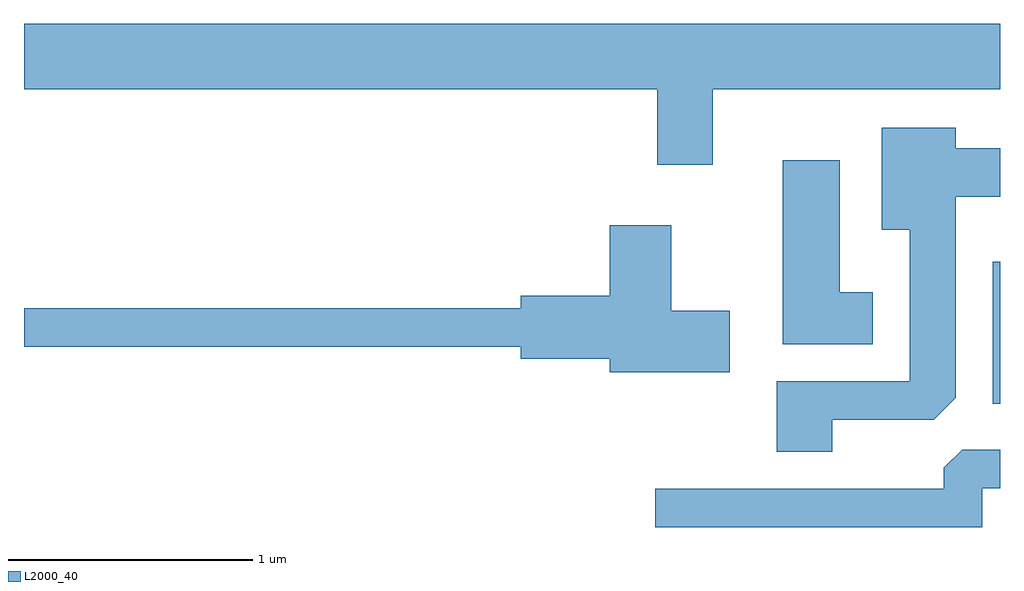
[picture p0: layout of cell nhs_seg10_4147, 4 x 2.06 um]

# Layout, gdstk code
import gdstk
lib = gdstk.Library(unit=1e-6, precision=1e-09)
def R(c, l, rs):  # rectangles x0, y0, x1, y1
    for r in rs: c.add(gdstk.rectangle(r[:2], r[2:], *l))
def P(c, l, *ps):  # polygons
    for p in ps: c.add(gdstk.Polygon(p, *l))
L2000_40 = (2000, 40)

nhs_seg10_4147 = lib.new_cell('nhs_seg10_4147')
R(nhs_seg10_4147, L2000_40, [(311.581,2117.066,311.611,2117.649)])
P(nhs_seg10_4147, L2000_40, [(310.434,2118.356),(311.611,2118.356),(311.611,2118.624),(307.611,2118.624),(307.611,2118.356),(310.206,2118.356),(310.206,2118.046),(310.434,2118.046)],
  [(310.924,2117.001),(311.339,2117.001),(311.429,2117.092),(311.429,2117.916),(311.611,2117.916),(311.611,2118.114),(311.429,2118.114),(311.429,2118.199),(311.126,2118.199),(311.126,2117.781),(311.241,2117.781),(311.241,2117.159),(310.696,2117.159),(310.696,2116.871),(310.924,2116.871)],
  [(311.089,2117.524),(310.954,2117.524),(310.954,2118.064),(310.721,2118.064),(310.721,2117.311),(311.089,2117.311)],
  [(310.504,2117.449),(310.264,2117.449),(310.264,2117.799),(310.011,2117.799),(310.011,2117.509),(309.646,2117.509),(309.646,2117.459),(307.611,2117.459),(307.611,2117.301),(309.646,2117.301),(309.646,2117.251),(310.011,2117.251),(310.011,2117.196),(310.504,2117.196)],
  [(311.539,2116.721),(311.611,2116.721),(311.611,2116.879),(311.457,2116.879),(311.381,2116.804),(311.381,2116.719),(310.198,2116.719),(310.198,2116.561),(311.539,2116.561)])

lib.write_gds('nhs_seg10_4147.gds')
